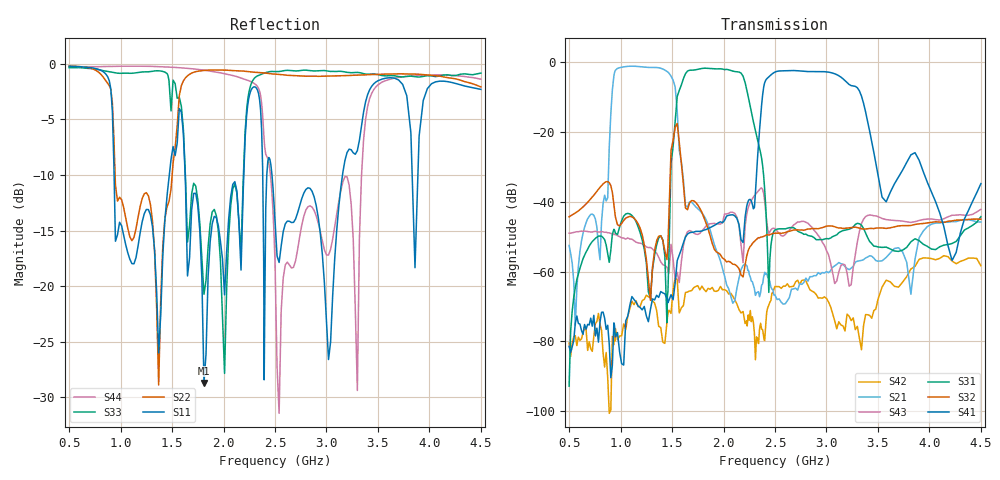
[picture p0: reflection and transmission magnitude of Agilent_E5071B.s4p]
!Agilent Technologies,E5071B,JP1KK00288,A.09.10
!Date: Thu Apr 05 13:49:22 2012
!Data & Calibration Information:
!Freq	S11:SOLT4(ON)	S12:SOLT4(ON)	S13:SOLT4(ON)	S14:SOLT4(ON)
!	S21:SOLT4(ON)	S22:SOLT4(ON)	S23:SOLT4(ON)	S24:SOLT4(ON)
!	S31:SOLT4(ON)	S32:SOLT4(ON)	S33:SOLT4(ON)	S34:SOLT4(ON)
!	S41:SOLT4(ON)	S42:SOLT4(ON)	S43:SOLT4(ON)	S44:SOLT4(ON)
# Hz S dB R 75
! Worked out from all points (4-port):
!   205 points, 500 MHz to 4.5 GHz, reference 75 ohm
!   strongest paths, dB at 500 MHz, 1.33 GHz, 2.245 GHz, 2.98 GHz, 4.5 GHz:
!     S41: -81.4, -68.1, -39.5, -2.8, -34.8
!     S32: -44.3, -54.0, -53.6, -47.2, -45.0
!     S31: -92.8, -55.4, -10.7, -50.7, -44.3
!     S43: -49.0, -54.2, -41.2, -52.5, -42.2
!     S21: -52.5, -1.6, -59.9, -60.4, -45.8
!     S42: -80.4, -69.0, -73.3, -67.2, -58.4
!   lowest |S11| = -28.7 dB at 1.81 GHz (marker M1), VSWR 1.08, Z = 79.1 - j3.91 ohm
!   |S11| at or under -10 dB: 936.9 MHz to 1.474 GHz (536.7 MHz wide, 44.5 % of centre); 1.627 GHz to 2.197 GHz (569.7 MHz wide, 29.8 % of centre); 2.47 GHz to 3.156 GHz (685.6 MHz wide, 24.4 % of centre)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
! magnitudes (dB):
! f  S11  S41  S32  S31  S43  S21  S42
! 500 MHz  -0.2  -81.4  -44.3  -92.8  -49.0  -52.5  -80.4
! 1.45 GHz  -12.0  -67.7  -56.6  -74.6  -58.8  -2.7  -74.4
! 1.55 GHz  -7.1  -56.9  -17.6  -9.9  -60.2  -14.0  -62.3
! 1.81 GHz  -28.7  -48.1  -44.6  -1.8  -47.7  -44.0  -65.1
! 2.21 GHz  -6.6  -44.3  -58.0  -5.9  -46.9  -57.8  -74.9
! 2.44 GHz  -8.4  -4.3  -49.6  -66.0  -49.1  -61.8  -69.6
! 4.5 GHz  -2.3  -34.8  -45.0  -44.3  -42.2  -45.8  -58.4
